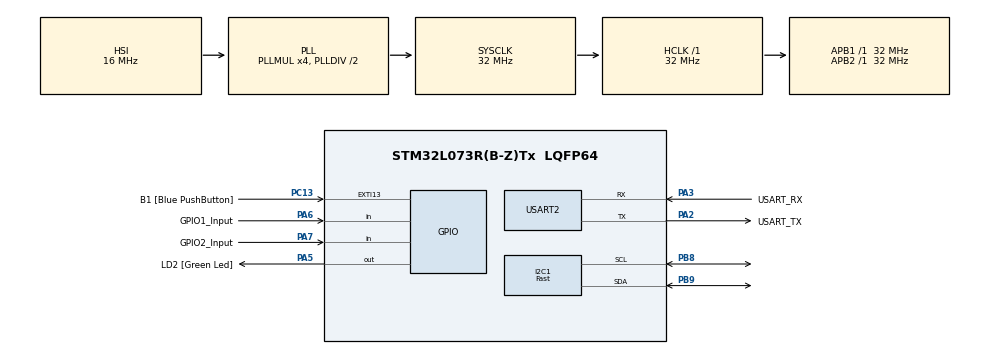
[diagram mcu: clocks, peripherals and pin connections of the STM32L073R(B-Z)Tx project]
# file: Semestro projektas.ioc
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I2C1.I2C_Speed_Mode=I2C_Fast
I2C1.Timing=0x0060112F
Mcu.Family=STM32L0
Mcu.Name=STM32L073R(B-Z)Tx
Mcu.Package=LQFP64
PA13.GPIO_Label=TMS
PA13.Mode=Serial_Wire
PA13.Signal=SYS_SWDIO
PA14.GPIO_Label=TCK
PA14.Mode=Serial_Wire
PA14.Signal=SYS_SWCLK
PA2.GPIO_Label=USART_TX
PA2.Mode=Asynchronous
PA2.Signal=USART2_TX
PA3.GPIO_Label=USART_RX
PA3.Mode=Asynchronous
PA3.Signal=USART2_RX
PA5.GPIO_Label=LD2 [Green Led]
PA5.Signal=GPIO_Output
PA6.GPIO_Label=GPIO1_Input
PA6.GPIO_PuPd=GPIO_PULLUP
PA6.Signal=GPIO_Input
PA7.GPIO_Label=GPIO2_Input
PA7.GPIO_PuPd=GPIO_PULLUP
PA7.Signal=GPIO_Input
PB8.Mode=I2C
PB8.Signal=I2C1_SCL
PB9.Mode=I2C
PB9.Signal=I2C1_SDA
PC13.GPIO_Label=B1 [Blue PushButton]
PC13.GPIO_ModeDefaultEXTI=GPIO_MODE_IT_FALLING
PC13.Signal=GPXTI13
PC14-OSC32_IN.Mode=LSE-External-Oscillator
PC14-OSC32_IN.Signal=RCC_OSC32_IN
PC15-OSC32_OUT.Mode=LSE-External-Oscillator
PC15-OSC32_OUT.Signal=RCC_OSC32_OUT
PH0-OSC_IN.GPIO_Label=MCO
PH0-OSC_IN.Mode=HSE-External-Clock-Source
PH0-OSC_IN.Signal=RCC_OSC_IN
ProjectManager.HeapSize=0x200
ProjectManager.StackSize=0x400
ProjectManager.TargetToolchain=MDK-ARM V5.32
RCC.ADCFreq_Value=16000000
RCC.AHBFreq_Value=32000000
RCC.APB1Freq_Value=32000000
RCC.APB1TimFreq_Value=32000000
RCC.APB2Freq_Value=32000000
RCC.APB2TimFreq_Value=32000000
RCC.HCLKFreq_Value=32000000
RCC.HSI16_VALUE=16000000
RCC.HSI48_VALUE=48000000
RCC.HSI_VALUE=16000000
RCC.MSI_VALUE=2097000
RCC.PLLMUL=RCC_PLLMUL_4
RCC.SYSCLKFreq_VALUE=32000000
RCC.SYSCLKSource=RCC_SYSCLKSOURCE_PLLCLK
RCC.VCOOutputFreq_Value=64000000
TIM6.Prescaler=31
USART2.VirtualMode-Asynchronous=VM_ASYNC
VP_TIM6_VS_ClockSourceINT.Mode=Enable_Timer
board=NUCLEO-L073RZ

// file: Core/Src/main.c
/* USER CODE BEGIN Header */
/**
  ******************************************************************************
  * @file           : main.c
  * @brief          : Main program body
  ******************************************************************************
  * @attention
  *
  * Copyright (c) 2025 STMicroelectronics.
  * All rights reserved.
  *
  * This software is licensed under terms that can be found in the LICENSE file
  * in the root directory of this software component.
  * If no LICENSE file comes with this software, it is provided AS-IS.
  *
  ******************************************************************************
  */
/* USER CODE END Header */
#include "main.h"
#include "DHT11.h"
#include "ssd1306.h"
#include "ssd1306_fonts.h"
#include <stdio.h>
#include <string.h>

I2C_HandleTypeDef hi2c1;

TIM_HandleTypeDef htim6;

UART_HandleTypeDef huart2;

/* USER CODE BEGIN PV */
DHT11_Data_t DHT1_Data;
DHT11_Data_t DHT2_Data;

char buf[64];
char uart_buf[64];
uint16_t uart_buf_len;

uint8_t H1_values[10] = {0};
uint8_t H2_values[10] = {0};
uint8_t index = 0;
/* USER CODE END PV */

void SystemClock_Config(void);
static void MX_GPIO_Init(void);
static void MX_I2C1_Init(void);
static void MX_TIM6_Init(void);
static void MX_USART2_UART_Init(void);

int main(void)
{

  /* MCU Configuration--------------------------------------------------------*/

  /* Reset of all peripherals, Initializes the Flash interface and the Systick. */
  HAL_Init();

  /* Configure the system clock */
  SystemClock_Config();

  /* Initialize all configured peripherals */
  MX_GPIO_Init();
  MX_I2C1_Init();
  MX_TIM6_Init();
  MX_USART2_UART_Init();

  /* USER CODE BEGIN 2 */
  HAL_TIM_Base_Start(&htim6);
  DHT11_Init(GPIOA, GPIO_PIN_6);
  DHT11_Init(GPIOA, GPIO_PIN_7);
  ssd1306_Init();

	uint8_t oled_counter = 0;

/* USER CODE END 2 */

/* Infinite loop */
/* USER CODE BEGIN WHILE */
while (1)
{
  if(DHT11_Read(&DHT1_Data, GPIOA, GPIO_PIN_6) == 0 && DHT11_Read(&DHT2_Data, GPIOA, GPIO_PIN_7) == 0)
    {
        uint8_t diff_humidity = (DHT1_Data.Humidity > DHT2_Data.Humidity) ?
                                (DHT1_Data.Humidity - DHT2_Data.Humidity) :
                                (DHT2_Data.Humidity - DHT1_Data.Humidity);

        uart_buf_len = sprintf(uart_buf, "H1:%d H2:%d DIF:%d\r\n",
                               DHT1_Data.Humidity,
                               DHT2_Data.Humidity,
                               diff_humidity);
        HAL_UART_Transmit(&huart2, (uint8_t *) uart_buf, uart_buf_len, 100);

        H1_values[index] = DHT1_Data.Humidity;
        H2_values[index] = DHT2_Data.Humidity;
        index++;
        if(index >= 10) index = 0;

        if (oled_counter >= 10)
        {
            uint16_t sum_H1 = 0, sum_H2 = 0;
            for(uint8_t i = 0; i < 10; i++)
            {
                sum_H1 += H1_values[i];
                sum_H2 += H2_values[i];
            }
            uint8_t avg_H1 = sum_H1 / 10;
            uint8_t avg_H2 = sum_H2 / 10;
            uint8_t diff_avg = (avg_H1 > avg_H2) ? (avg_H1 - avg_H2) : (avg_H2 - avg_H1);

            ssd1306_Fill(Black);

            ssd1306_SetCursor(0, 0);
            sprintf(buf, "H1 AVG:%d%%", avg_H1);
            ssd1306_WriteString(buf, Font_6x8, White);

            ssd1306_SetCursor(0, 12);
            sprintf(buf, "H2 AVG:%d%%", avg_H2);
            ssd1306_WriteString(buf, Font_6x8, White);

            ssd1306_SetCursor(0, 24);
            sprintf(buf, "DIF:%d%%", diff_avg);
            ssd1306_WriteString(buf, Font_6x8, White);

            ssd1306_UpdateScreen();
            oled_counter = 0;
        }
    }
    else
    {
        char error[] = "DHT ERROR\r\n";
        HAL_UART_Transmit(&huart2, (uint8_t *)error, strlen(error), 100);
    }

    HAL_Delay(1000);
    oled_counter++;

/* USER CODE END WHILE */

}
}

void SystemClock_Config(void)
{
  RCC_OscInitTypeDef RCC_OscInitStruct = {0};
  RCC_ClkInitTypeDef RCC_ClkInitStruct = {0};
  RCC_PeriphCLKInitTypeDef PeriphClkInit = {0};

  /** Configure the main internal regulator output voltage
  */
  __HAL_PWR_VOLTAGESCALING_CONFIG(PWR_REGULATOR_VOLTAGE_SCALE1);

  /** Initializes the RCC Oscillators according to the specified parameters
  * in the RCC_OscInitTypeDef structure.
  */
  RCC_OscInitStruct.OscillatorType = RCC_OSCILLATORTYPE_HSI;
  RCC_OscInitStruct.HSIState = RCC_HSI_ON;
  RCC_OscInitStruct.HSICalibrationValue = RCC_HSICALIBRATION_DEFAULT;
  RCC_OscInitStruct.PLL.PLLState = RCC_PLL_ON;
  RCC_OscInitStruct.PLL.PLLSource = RCC_PLLSOURCE_HSI;
  RCC_OscInitStruct.PLL.PLLMUL = RCC_PLLMUL_4;
  RCC_OscInitStruct.PLL.PLLDIV = RCC_PLLDIV_2;
  if (HAL_RCC_OscConfig(&RCC_OscInitStruct) != HAL_OK)
  {
    Error_Handler();
  }

  /** Initializes the CPU, AHB and APB buses clocks
  */
  RCC_ClkInitStruct.ClockType = RCC_CLOCKTYPE_HCLK|RCC_CLOCKTYPE_SYSCLK
                              |RCC_CLOCKTYPE_PCLK1|RCC_CLOCKTYPE_PCLK2;
  RCC_ClkInitStruct.SYSCLKSource = RCC_SYSCLKSOURCE_PLLCLK;
  RCC_ClkInitStruct.AHBCLKDivider = RCC_SYSCLK_DIV1;
  RCC_ClkInitStruct.APB1CLKDivider = RCC_HCLK_DIV1;
  RCC_ClkInitStruct.APB2CLKDivider = RCC_HCLK_DIV1;

  if (HAL_RCC_ClockConfig(&RCC_ClkInitStruct, FLASH_LATENCY_1) != HAL_OK)
  {
    Error_Handler();
  }
  PeriphClkInit.PeriphClockSelection = RCC_PERIPHCLK_USART2|RCC_PERIPHCLK_I2C1;
  PeriphClkInit.Usart2ClockSelection = RCC_USART2CLKSOURCE_PCLK1;
  PeriphClkInit.I2c1ClockSelection = RCC_I2C1CLKSOURCE_PCLK1;
  if (HAL_RCCEx_PeriphCLKConfig(&PeriphClkInit) != HAL_OK)
  {
    Error_Handler();
  }
}

static void MX_I2C1_Init(void)
{

  hi2c1.Instance = I2C1;
  hi2c1.Init.Timing = 0x0060112F;
  hi2c1.Init.OwnAddress1 = 0;
  hi2c1.Init.AddressingMode = I2C_ADDRESSINGMODE_7BIT;
  hi2c1.Init.DualAddressMode = I2C_DUALADDRESS_DISABLE;
  hi2c1.Init.OwnAddress2 = 0;
  hi2c1.Init.OwnAddress2Masks = I2C_OA2_NOMASK;
  hi2c1.Init.GeneralCallMode = I2C_GENERALCALL_DISABLE;
  hi2c1.Init.NoStretchMode = I2C_NOSTRETCH_DISABLE;
  if (HAL_I2C_Init(&hi2c1) != HAL_OK)
  {
    Error_Handler();
  }

  /** Configure Analogue filter
  */
  if (HAL_I2CEx_ConfigAnalogFilter(&hi2c1, I2C_ANALOGFILTER_ENABLE) != HAL_OK)
  {
    Error_Handler();
  }

  /** Configure Digital filter
  */
  if (HAL_I2CEx_ConfigDigitalFilter(&hi2c1, 0) != HAL_OK)
  {
    Error_Handler();
  }

}

static void MX_TIM6_Init(void)
{

  TIM_MasterConfigTypeDef sMasterConfig = {0};

  htim6.Instance = TIM6;
  htim6.Init.Prescaler = 31;
  htim6.Init.CounterMode = TIM_COUNTERMODE_UP;
  htim6.Init.Period = 65535;
  htim6.Init.AutoReloadPreload = TIM_AUTORELOAD_PRELOAD_DISABLE;
  if (HAL_TIM_Base_Init(&htim6) != HAL_OK)
  {
    Error_Handler();
  }
  sMasterConfig.MasterOutputTrigger = TIM_TRGO_RESET;
  sMasterConfig.MasterSlaveMode = TIM_MASTERSLAVEMODE_DISABLE;
  if (HAL_TIMEx_MasterConfigSynchronization(&htim6, &sMasterConfig) != HAL_OK)
  {
    Error_Handler();
  }

}

static void MX_USART2_UART_Init(void)
{

  huart2.Instance = USART2;
  huart2.Init.BaudRate = 115200;
  huart2.Init.WordLength = UART_WORDLENGTH_8B;
  huart2.Init.StopBits = UART_STOPBITS_1;
  huart2.Init.Parity = UART_PARITY_NONE;
  huart2.Init.Mode = UART_MODE_TX_RX;
  huart2.Init.HwFlowCtl = UART_HWCONTROL_NONE;
  huart2.Init.OverSampling = UART_OVERSAMPLING_16;
  huart2.Init.OneBitSampling = UART_ONE_BIT_SAMPLE_DISABLE;
  huart2.AdvancedInit.AdvFeatureInit = UART_ADVFEATURE_NO_INIT;
  if (HAL_UART_Init(&huart2) != HAL_OK)
  {
    Error_Handler();
  }

}

static void MX_GPIO_Init(void)
{
  GPIO_InitTypeDef GPIO_InitStruct = {0};

  /* GPIO Ports Clock Enable */
  __HAL_RCC_GPIOC_CLK_ENABLE();
  __HAL_RCC_GPIOH_CLK_ENABLE();
  __HAL_RCC_GPIOA_CLK_ENABLE();
  __HAL_RCC_GPIOB_CLK_ENABLE();

  /*Configure GPIO pin Output Level */
  HAL_GPIO_WritePin(LD2_GPIO_Port, LD2_Pin, GPIO_PIN_RESET);

  /*Configure GPIO pin : B1_Pin */
  GPIO_InitStruct.Pin = B1_Pin;
  GPIO_InitStruct.Mode = GPIO_MODE_IT_FALLING;
  GPIO_InitStruct.Pull = GPIO_NOPULL;
  HAL_GPIO_Init(B1_GPIO_Port, &GPIO_InitStruct);

  /*Configure GPIO pin : LD2_Pin */
  GPIO_InitStruct.Pin = LD2_Pin;
  GPIO_InitStruct.Mode = GPIO_MODE_OUTPUT_PP;
  GPIO_InitStruct.Pull = GPIO_NOPULL;
  GPIO_InitStruct.Speed = GPIO_SPEED_FREQ_LOW;
  HAL_GPIO_Init(LD2_GPIO_Port, &GPIO_InitStruct);

  /*Configure GPIO pins : GPIO1_Input_Pin GPIO2_Input_Pin */
  GPIO_InitStruct.Pin = GPIO1_Input_Pin|GPIO2_Input_Pin;
  GPIO_InitStruct.Mode = GPIO_MODE_INPUT;
  GPIO_InitStruct.Pull = GPIO_PULLUP;
  HAL_GPIO_Init(GPIOA, &GPIO_InitStruct);

}

void Error_Handler(void)
{
  __disable_irq();
  while (1)
  {
  }
}
